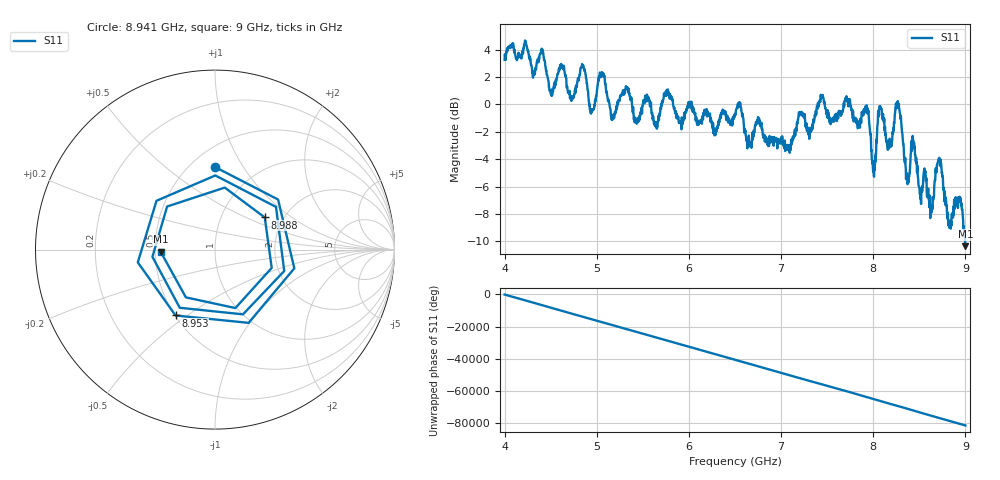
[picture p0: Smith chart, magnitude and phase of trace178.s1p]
! Created with skrf 1.8.0 (http://scikit-rf.org).
# Hz S RI R 50.0
!freq ReS11 ImS11
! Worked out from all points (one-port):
!   1601 points, 4 GHz to 9 GHz, reference 50 ohm
!   lowest |S11| = -10.4 dB at 9 GHz (marker M1), VSWR 1.87, Z = 26.7 - j0.653 ohm
!   |S11| at or under -10 dB: 8.996573 GHz to end of sweep
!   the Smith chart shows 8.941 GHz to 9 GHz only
!   S11 on the Smith chart (normalised r, x): 8.941 GHz: 0.65, +0.76; 8.953 GHz: 0.50, -0.45; 8.988 GHz: 1.61, +0.65; 9 GHz: 0.53, -0.01
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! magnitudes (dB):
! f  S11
! 4 GHz  3.3
! 4.403 GHz  4.1
! 4.506 GHz  0.9
! 4.625 GHz  2.7
! 4.734 GHz  0.4
! 4.853 GHz  2.8
! 4.944 GHz  -0.5
! 5.05 GHz  2.0
! 5.169 GHz  -1.1
! 5.25 GHz  0.5
! 5.875 GHz  -0.9
! 6.5 GHz  -0.7
! 7.125 GHz  -2.5
! 7.75 GHz  0.1
! 7.931 GHz  -0.3
! 8.006 GHz  -5.2
! 8.072 GHz  -0.2
! 8.175 GHz  -2.7
! 8.266 GHz  0.2
! 8.375 GHz  -5.8
! 8.434 GHz  -2.6
! 8.625 GHz  -7.7
! 8.716 GHz  -3.9
! 8.825 GHz  -9.0
! 8.941 GHz  -6.8
! 8.953 GHz  -7.4
! 8.988 GHz  -9.6
! 9 GHz  -10.4
